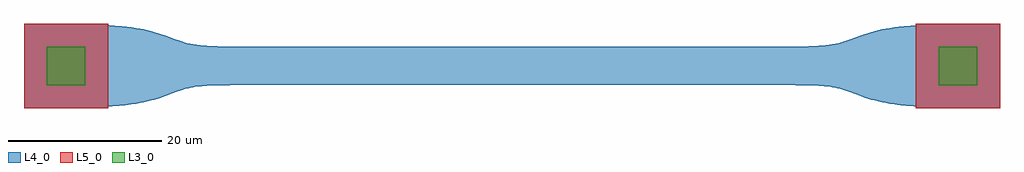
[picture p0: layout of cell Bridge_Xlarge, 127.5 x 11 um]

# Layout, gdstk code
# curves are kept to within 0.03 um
from math import pi, radians
import gdstk
lib = gdstk.Library(unit=1e-6, precision=1e-09)
def R(c, l, rs):  # rectangles x0, y0, x1, y1
    for r in rs: c.add(gdstk.rectangle(r[:2], r[2:], *l))
def P(c, l, *ps):  # polygons
    for p in ps: c.add(gdstk.Polygon(p, *l))
L3_0 = (3, 0)
L4_0 = (4, 0)
L5_0 = (5, 0)

optimal_step_6_1_1 = lib.new_cell('Optimal$Step$6$1$1')
P(optimal_step_6_1_1, L4_0, [(56.124,-5.313),(56.124,5.313),(53.37,5.092),(51.184,4.749),(49.336,4.274),(45.708,3.02),(44.469,2.757),(42.924,2.599),(39.915,2.515),(0,2.5),(0,-2.5),(39.915,-2.515),(42.924,-2.599),(44.469,-2.757),(45.708,-3.02),(49.336,-4.274),(51.184,-4.749),(53.585,-5.116)])

bridge_xlarge = lib.new_cell('Bridge_Xlarge')
R(bridge_xlarge, L3_0, [(-58.75,-3.1,-53.75,1.9), (57.75,-3.1,62.75,1.9)])
R(bridge_xlarge, L4_0, [(-61.75,-6.1,-50.75,4.9), (54.75,-6.1,65.75,4.9)])
R(bridge_xlarge, L5_0, [(-61.75,-6.1,-50.75,4.9), (54.75,-6.1,65.75,4.9)])
bridge_xlarge.add(gdstk.Reference(optimal_step_6_1_1, (-0.825,-0.58)))
bridge_xlarge.add(gdstk.Reference(optimal_step_6_1_1, (5.049,-0.58), rotation=pi, x_reflection=True))

lib.write_gds('Bridge_Xlarge.gds')
